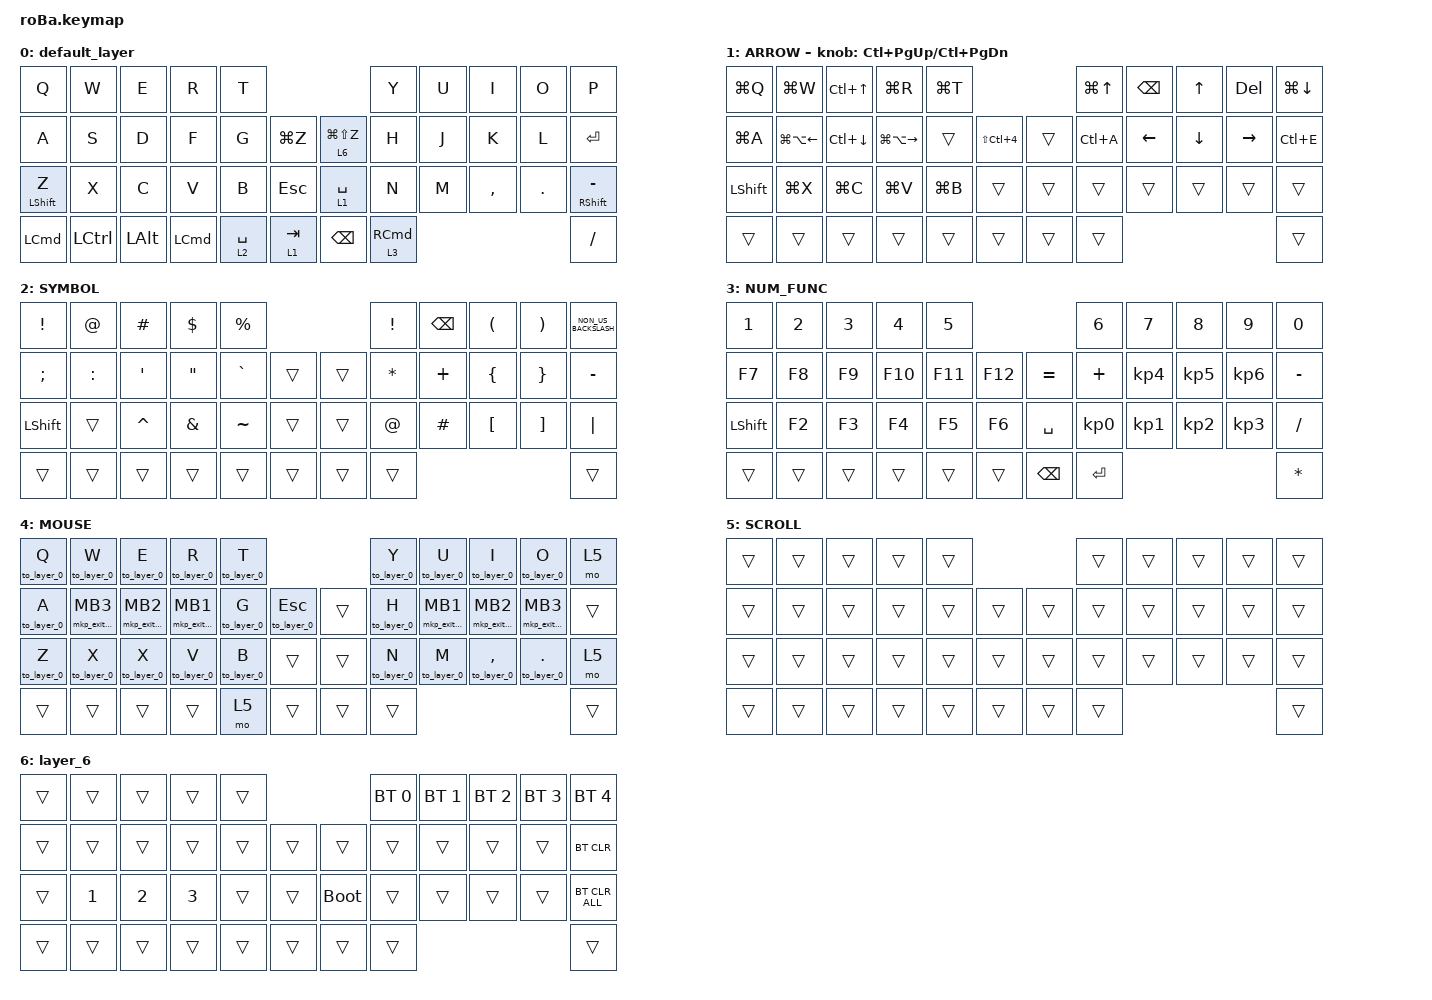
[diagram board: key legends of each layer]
#include <behaviors.dtsi>
#include <dt-bindings/zmk/bt.h>
#include <dt-bindings/zmk/keys.h>
#include <dt-bindings/zmk/pointing.h>

&mt {
    flavor = "tap-preferred";
    tapping-term-ms = <150>;
    quick-tap-ms = <125>;
};

&lt {
    flavor = "tap-preferred";
    tapping-term-ms = <150>;
    quick-tap-ms = <125>;
};

&trackball {
    automouse-layer = <4>;
    scroll-layers = <5>;

    // arrows {
    //     layers = <3>;    
    //     bindings =
    //         <&kp RIGHT_ARROW>,
    //         <&kp LEFT_ARROW>,
    //         <&kp UP_ARROW>,
    //         <&kp DOWN_ARROW>;
    //     tick = <10>;
    //     wait-ms = <5>;
    //     tap-ms = <5>;
    // };
};

/ {
    combos {
        compatible = "zmk,combos";

        double_quotation {
            bindings = <&kp DOUBLE_QUOTES>;
            key-positions = <20 21>;
        };

        minus {
            bindings = <&kp MINUS>;
            key-positions = <26 21>;
        };
    };

    macros {
        to_layer_0: to_layer_0 {
            compatible = "zmk,behavior-macro-one-param";
            #binding-cells = <1>;
            bindings = <&to 0 &macro_param_1to1 &kp MACRO_PLACEHOLDER>;
            label = "TO_LAYER_0";
        };

        mkp_exit_AML: mkp_exit_AML {
            compatible = "zmk,behavior-macro-one-param";
            #binding-cells = <1>;
            bindings =
                <&macro_press>,
                <&macro_param_1to1 &mkp MACRO_PLACEHOLDER>,
                <&macro_pause_for_release>,
                <&macro_release>,
                <&macro_param_1to1 &mkp MACRO_PLACEHOLDER>;

            label = "MKP_EXIT_AML";
        };
    };

    behaviors {
        lt_to_layer_0: lt_to_layer_0 {
            compatible = "zmk,behavior-hold-tap";
            label = "LAYER_TAP_TO_0";
            bindings = <&mo>, <&to_layer_0>;

            #binding-cells = <2>;
            tapping-term-ms = <170>;
            flavor = "tap-unless-interrupted";
        };
    };

    keymap {
        compatible = "zmk,keymap";

        default_layer {
            bindings = <
&kp Q             &kp W      &kp E         &kp R             &kp T                                         &kp Y                &kp U  &kp I      &kp O    &kp P
&kp A             &kp S      &kp D         &kp F             &kp G        &kp LG(Z)       &lt 6 LG(LS(Z))  &kp H                &kp J  &kp K      &kp L    &kp ENTER
&mt LEFT_SHIFT Z  &kp X      &kp C         &kp V             &kp B        &kp ESCAPE      &lt 1 SPACE      &kp N                &kp M  &kp COMMA  &kp DOT  &mt RIGHT_SHIFT MINUS
&kp LEFT_COMMAND  &kp LCTRL  &kp LEFT_ALT  &kp LEFT_COMMAND  &lt 2 SPACE  &lt 1 TAB       &kp BACKSPACE    &lt 3 RIGHT_COMMAND                             &kp SLASH
            >;
        };

        ARROW {
            bindings = <
&kp LG(Q)       &kp LG(W)               &kp LC(UP_ARROW)    &kp LG(R)                &kp LG(T)                                    &kp LG(UP_ARROW)  &kp BACKSPACE  &kp UP_ARROW  &kp DELETE  &kp LG(DOWN_ARROW)
&kp LG(A)       &kp LG(LA(LEFT_ARROW))  &kp LC(DOWN_ARROW)  &kp LG(LA(RIGHT_ARROW))  &trans     &kp LS(LC(NUMBER_4))      &trans  &kp LC(A)         &kp LEFT       &kp DOWN      &kp RIGHT   &kp LC(E)
&kp LEFT_SHIFT  &kp LG(X)               &kp LG(C)           &kp LG(V)                &kp LG(B)  &trans                    &trans  &trans            &trans         &trans        &trans      &trans
&trans          &trans                  &trans              &trans                   &trans     &trans                    &trans  &trans                                                     &trans
            >;

            sensor-bindings = <&inc_dec_kp LC(PAGE_UP) LC(PAGE_DOWN)>;
        };

        SYMBOL {
            bindings = <
&kp EXCL        &kp AT_SIGN  &kp HASH   &kp DOLLAR         &kp PERCENT                      &kp EXCL     &kp BACKSPACE  &kp LEFT_PARENTHESIS  &kp RIGHT_PARENTHESIS  &kp NON_US_BACKSLASH
&kp SEMICOLON   &kp COLON    &kp SQT    &kp DOUBLE_QUOTES  &kp GRAVE    &trans      &trans  &kp ASTRK    &kp PLUS       &kp LEFT_BRACE        &kp RIGHT_BRACE        &kp MINUS
&kp LEFT_SHIFT  &trans       &kp CARET  &kp AMPERSAND      &kp TILDE    &trans      &trans  &kp AT_SIGN  &kp HASH       &kp LEFT_BRACKET      &kp RIGHT_BRACKET      &kp PIPE
&trans          &trans       &trans     &trans             &trans       &trans      &trans  &trans                                                                   &trans
            >;
        };

        NUM_FUNC {
            bindings = <
&kp NUMBER_1    &kp NUMBER_2  &kp NUMBER_3  &kp NUMBER_4  &kp N5                               &kp NUMBER_6     &kp N7           &kp N8           &kp N9           &kp N0
&kp F7          &kp F8        &kp F9        &kp F10       &kp F11  &kp F12      &kp EQUAL      &kp PLUS         &kp KP_NUMBER_4  &kp KP_NUMBER_5  &kp KP_NUMBER_6  &kp MINUS
&kp LEFT_SHIFT  &kp F2        &kp F3        &kp F4        &kp F5   &kp F6       &kp SPACE      &kp KP_NUMBER_0  &kp KP_NUMBER_1  &kp KP_NUMBER_2  &kp KP_NUMBER_3  &kp SLASH
&trans          &trans        &trans        &trans        &trans   &trans       &kp BACKSPACE  &kp ENTER                                                           &kp ASTERISK
            >;
        };

        MOUSE {
            bindings = <
&to_layer_0 Q  &to_layer_0 W      &to_layer_0 E      &to_layer_0 R      &to_layer_0 T                                  &to_layer_0 Y  &to_layer_0 U      &to_layer_0 I      &to_layer_0 O       &mo 5
&to_layer_0 A  &mkp_exit_AML MB3  &mkp_exit_AML MB2  &mkp_exit_AML MB1  &to_layer_0 G  &to_layer_0 ESCAPE      &trans  &to_layer_0 H  &mkp_exit_AML MB1  &mkp_exit_AML MB2  &mkp_exit_AML MB3   &trans
&to_layer_0 Z  &to_layer_0 X      &to_layer_0 X      &to_layer_0 V      &to_layer_0 B  &trans                  &trans  &to_layer_0 N  &to_layer_0 M      &to_layer_0 COMMA  &to_layer_0 PERIOD  &mo 5
&trans         &trans             &trans             &trans             &mo 5          &trans                  &trans  &trans                                                                   &trans
            >;
        };

        SCROLL {
            bindings = <
&trans  &trans  &trans  &trans  &trans                      &trans  &trans  &trans  &trans  &trans
&trans  &trans  &trans  &trans  &trans  &trans      &trans  &trans  &trans  &trans  &trans  &trans
&trans  &trans  &trans  &trans  &trans  &trans      &trans  &trans  &trans  &trans  &trans  &trans
&trans  &trans  &trans  &trans  &trans  &trans      &trans  &trans                          &trans
            >;
        };

        layer_6 {
            bindings = <
&trans  &trans        &trans        &trans        &trans                           &bt BT_SEL 0  &bt BT_SEL 1  &bt BT_SEL 2  &bt BT_SEL 3  &bt BT_SEL 4
&trans  &trans        &trans        &trans        &trans  &trans      &trans       &trans        &trans        &trans        &trans        &bt BT_CLR
&trans  &kp NUMBER_1  &kp NUMBER_2  &kp NUMBER_3  &trans  &trans      &bootloader  &trans        &trans        &trans        &trans        &bt BT_CLR_ALL
&trans  &trans        &trans        &trans        &trans  &trans      &trans       &trans                                                  &trans
            >;
        };
    };
};
